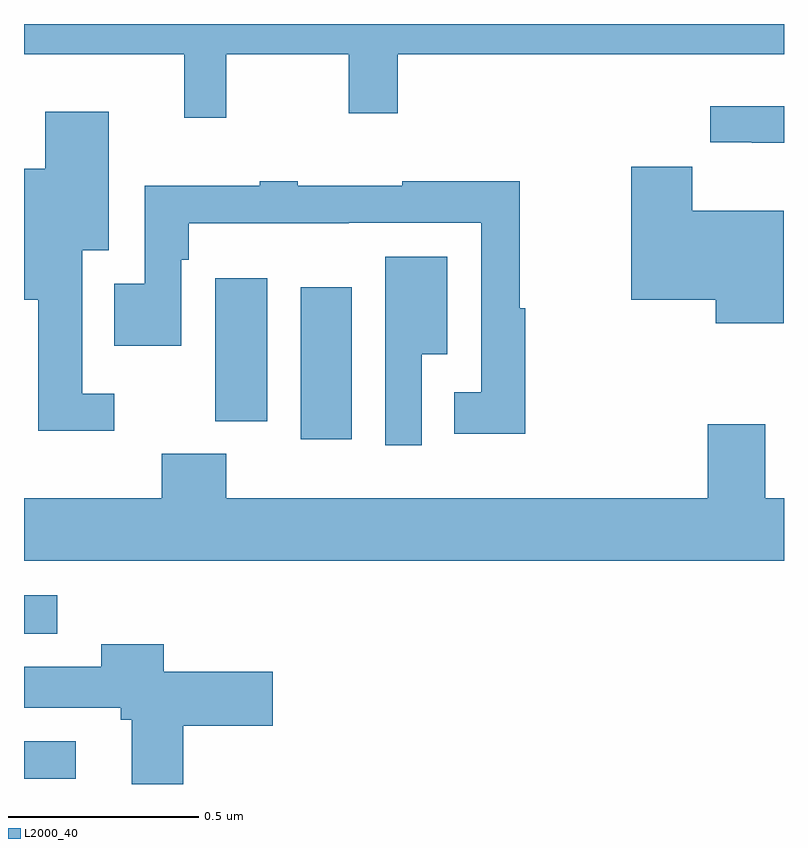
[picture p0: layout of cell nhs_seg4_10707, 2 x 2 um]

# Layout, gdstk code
import gdstk
lib = gdstk.Library(unit=1e-6, precision=1e-09)
def R(c, l, rs):  # rectangles x0, y0, x1, y1
    for r in rs: c.add(gdstk.rectangle(r[:2], r[2:], *l))
def P(c, l, *ps):  # polygons
    for p in ps: c.add(gdstk.Polygon(p, *l))
L2000_40 = (2000, 40)

nhs_seg4_10707 = lib.new_cell('nhs_seg4_10707')
R(nhs_seg4_10707, L2000_40, [(243,794.914,243.136,795.012), (243,795.296,243.088,795.397), (243.728,795.807,243.862,796.207), (243.503,795.854,243.64,796.231)])
P(nhs_seg4_10707, L2000_40, [(243.532,796.82),(243.855,796.82),(243.855,796.665),(243.983,796.665),(243.983,796.82),(245,796.82),(245,796.9),(243,796.9),(243,796.82),(243.422,796.82),(243.422,796.653),(243.532,796.653)],
  [(245,796.684),(244.806,796.684),(244.806,796.589),(244.915,796.589),(244.915,796.587),(245,796.587)],
  [(243.238,795.927),(243.153,795.927),(243.153,796.304),(243.223,796.304),(243.223,796.669),(243.056,796.669),(243.056,796.519),(243,796.519),(243,796.175),(243.037,796.175),(243.037,795.83),(243.238,795.83)],
  [(244.999,796.408),(244.759,796.408),(244.759,796.524),(244.598,796.524),(244.598,796.175),(244.82,796.175),(244.82,796.112),(244.999,796.112)],
  [(244.319,796.152),(244.304,796.152),(244.304,796.486),(243.996,796.486),(243.996,796.475),(243.721,796.475),(243.721,796.486),(243.621,796.486),(243.621,796.474),(243.318,796.474),(243.318,796.216),(243.238,796.216),(243.238,796.053),(243.414,796.053),(243.414,796.28),(243.434,796.28),(243.434,796.376),(243.854,796.376),(243.854,796.377),(244.203,796.377),(244.203,795.931),(244.132,795.931),(244.132,795.822),(244.319,795.822)],
  [(244.047,796.031),(244.114,796.031),(244.114,796.288),(243.951,796.288),(243.951,795.792),(244.047,795.792)],
  [(243.362,795.769),(243.362,795.652),(243,795.652),(243,795.488),(245,795.488),(245,795.652),(244.951,795.652),(244.951,795.847),(244.799,795.847),(244.799,795.652),(243.532,795.652),(243.532,795.769)],
  [(243.419,795.053),(243.655,795.053),(243.655,795.195),(243.368,795.195),(243.368,795.268),(243.203,795.268),(243.203,795.208),(243,795.208),(243,795.101),(243.254,795.101),(243.254,795.069),(243.284,795.069),(243.284,794.9),(243.419,794.9)])

lib.write_gds('nhs_seg4_10707.gds')
